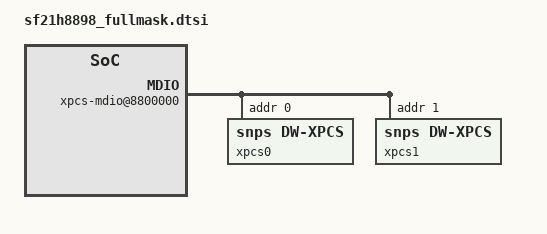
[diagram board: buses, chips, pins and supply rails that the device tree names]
// SPDX-License-Identifier: GPL-2.0
#include <dt-bindings/gpio/gpio.h>
#include <dt-bindings/pinctrl/sf21h8898-fullmask-iomux.h>

/ {
	compatible = "siflower,sf21h8898";
	#address-cells = <1>;
	#size-cells = <1>;

	cpus {
		#address-cells = <1>;
		#size-cells = <0>;

		cpu0: cpu@0 {
			device_type = "cpu";
			compatible = "arm,cortex-a53";
			reg = <0x0>;
			clock-frequency = <1200000000>;
		};

		cpu1: cpu@1 {
			device_type = "cpu";
			compatible = "arm,cortex-a53";
			reg = <0x1>;
			clock-frequency = <1200000000>;
		};

		cpu2: cpu@2 {
			device_type = "cpu";
			compatible = "arm,cortex-a53";
			reg = <0x2>;
			clock-frequency = <1200000000>;
		};

		cpu3: cpu@3 {
			device_type = "cpu";
			compatible = "arm,cortex-a53";
			reg = <0x3>;
			clock-frequency = <1200000000>;
		};

	};

	spi_clk: spi-clk {
		compatible = "fixed-clock";
		#clock-cells = <0>;
		clock-frequency = <200000000>;
	};

	apb_clk: apb-clk {
		compatible = "fixed-clock";
		#clock-cells = <0>;
		clock-frequency = <200000000>;
	};


	soc {
		compatible = "simple-bus";
		#address-cells = <2>;
		#size-cells = <2>;
		u-boot,dm-pre-reloc;

		gmac0: ethernet@8000000 {
			compatible = "siflower,sf21h8898-xgmac";
			reg = <0x0 0x8000000 0x0 0x4000>;
			phy-mode = "qsgmii";
			pcs-handle = <&xpcs0>;
			pinctrl-names = "default";
			pinctrl-0 = <&mac0_mdio_pins>;
			dmas = <&edma 0>, <&edma 1>;
			status = "disabled";

			mdio0: mdio {
				#address-cells = <1>;
				#size-cells = <0>;
			};
		};

		gmac1: ethernet@8004000 {
			compatible = "siflower,sf21h8898-xgmac";
			reg = <0x0 0x8004000 0x0 0x4000>;
			phy-mode = "qsgmii";
			pcs-handle = <&xpcs0>;
			dmas = <&edma 0>, <&edma 1>;
			status = "disabled";
		};

		gmac2: ethernet@8008000 {
			compatible = "siflower,sf21h8898-xgmac";
			reg = <0x0 0x8008000 0x0 0x4000>;
			phy-mode = "qsgmii";
			pcs-handle = <&xpcs0>;
			dmas = <&edma 0>, <&edma 1>;
			status = "disabled";
		};

		gmac3: ethernet@800c000 {
			compatible = "siflower,sf21h8898-xgmac";
			reg = <0x0 0x800c000 0x0 0x4000>;
			phy-mode = "qsgmii";
			pcs-handle = <&xpcs0>;
			dmas = <&edma 0>, <&edma 1>;
			status = "disabled";
		};

		gmac4: ethernet@8010000 {
			compatible = "siflower,sf21h8898-xgmac";
			reg = <0x0 0x8010000 0x0 0x4000>;
			phy-mode = "2500base-x";
			pcs-handle = <&xpcs1>;
			pinctrl-names = "default";
			pinctrl-0 = <&mac4_mdio_pins>;
			dmas = <&edma 0>, <&edma 1>;
			status = "disabled";

			mdio1: mdio {
				#address-cells = <1>;
				#size-cells = <0>;
			};
		};

		gmac5: ethernet@8014000 {
			compatible = "siflower,sf21h8898-xgmac";
			reg = <0x0 0x8014000 0x0 0x4000>;
			phy-mode = "rgmii";
			pinctrl-names = "default";
			pinctrl-0 = <&rgmii_pins>;
			dmas = <&edma 0>, <&edma 1>;
			status = "disabled";
		};

		edma: dma-controller@8018000 {
			compatible = "siflower,sf21h8898-xgmac-dma";
			reg = <0x0 0x8018000 0x0 0x4000>;
			#dma-cells = <1>;
			dma-channels = <2>;
		};

		xpcs-mdio@8800000 {
			compatible = "siflower,sf21h8898-xpcs-mdio";
			reg = <0x0 0x8800000 0x0 0x1000000>;
			#address-cells = <1>;
			#size-cells = <0>;

			xpcs0: xpcs@0 {
				compatible = "snps,dw-xpcs";
				reg = <0x0>;
				// mode: 1 for qsgmii, 2 for sgmii, 3 for usxgmii
				mode = <0x1>;
			};

			xpcs1: xpcs@1 {
				compatible = "snps,dw-xpcs";
				reg = <0x1>;
				// mode: 1 for qsgmii, 2 for sgmii, 3 for usxgmii
				mode = <0x2>;
			};
		};


		spi0: spi@c200000 {
			compatible = "siflower,sf-exspi";
			reg = <0x0 0xc200000 0x0 0x1000>;
			clocks = <&spi_clk>;
			pinctrl-names = "default";
			pinctrl-0 = <&spi0_pins>;
			status = "disabled";
			#address-cells = <1>;
			#size-cells = <0>;
		};

		rst: reset-controller@0xce08400 {
			compatible = "siflower_i2c_reset";
			#reset-cells = <1>;
			reg = <0x0 0xce08400 0x0 0x1000>;
		};

		i2c0: i2c@c100000 {
			compatible = "snps,designware-i2c";
			reg = <0x0 0xc100000 0x0 0x1000>;
			clocks = <&apb_clk>;
			clock-frequency = <400000>;
			pinctrl-0 = <&i2c0_pins>;
			pinctrl-names = "default";
			status = "disabled";
			resets = <&rst 0>;
			#address-cells = <1>;
			#size-cells = <0>;
		};

		uart0: serial@c300000 {
			compatible = "arm,pl011";
			reg = <0x0 0xc300000 0x0 0x1000>;
			pinctrl-names = "default";
			pinctrl-0 = <&uart0_pins>;
			status = "disabled";
		};

		uart1: serial@c301000 {
			compatible = "arm,pl011";
			reg = <0x0 0xc301000 0x0 0x1000>;
			pinctrl-names = "default";
			pinctrl-0 = <&uart1_pins>;
			status = "disabled";
		};

		watchdog: watchdog@0c700000 {
			compatible = "snps,dw-wdt";
			reg = <0x0 0x0c700000 0x0 0x1000>;
			clocks = <&apb_clk>;
			status = "disabled";
		};

		timer0: timer0@0c600000 {
			compatible = "snps,dw-apb-timer";
			reg = <0x0 0x0c600000 0x0 0x1000>;
			clocks = <&apb_clk>;
			clock-names = "timer";
			status = "disabled";
		};

		timer1: timer1@0c601000 {
			compatible = "snps,dw-apb-timer";
			reg = <0x0 0x0c601000 0x0 0x1000>;
			clocks = <&apb_clk>;
			clock-names = "timer";
			status = "disabled";
		};

		gpio: gpio@c800000 {
			compatible = "siflower,sfax8-gpio";
			reg = <0x0 0xc800000 0x0 0x100000>;

			gpio-controller;
			#gpio-cells = <2>;

			ngpios = <41>;
			gpio-ranges = <&iomux 0 0 41>;
		};

		iomux: iomux@ce3c000 {
			compatible = "pinctrl-single";
			reg = <0x0 0xce3c000 0x0 0xa4>;
			#address-cells = <1>;
			#size-cells = <1>;
			#pinctrl-cells = <1>;

			pinctrl-single,register-width = <32>;
			pinctrl-single,function-mask = <FUNC_MODE_MASK>;
			pinctrl-single,gpio-range = <&range 0 41 GPIO_MODE>;

			range: gpio-range {
				#pinctrl-single,gpio-range-cells = <3>;
			};

			clk_pins: clk_pins {
				pinctrl-single,pins = <
					EXT_CLK_IN	FUNC_MODE0
					CLK_OUT		FUNC_MODE0
				>;
			};

			spi0_pins: spi0_pins {
				pinctrl-single,pins = <
					SPI0_TXD	FUNC_MODE0
					SPI0_RXD	FUNC_MODE0
					SPI0_CLK	FUNC_MODE0
					SPI0_CSN	FUNC_MODE0
					SPI0_HOLD	FUNC_MODE0
					SPI0_WP		FUNC_MODE0
				>;
			};

			jtag_pins: jtag_pins {
				pinctrl-single,pins = <
					JTAG_TDO	FUNC_MODE0
					JTAG_TDI	FUNC_MODE0
					JTAG_TMS	FUNC_MODE0
					JTAG_TCK	FUNC_MODE0
					JTAG_RST	FUNC_MODE0
				>;
			};

			uart0_pins: uart0_pins {
				pinctrl-single,pins = <
					JTAG_TDO	FUNC_MODE1
					JTAG_TDI	FUNC_MODE1
					JTAG_TMS	FUNC_MODE1
					JTAG_TCK	FUNC_MODE1
				>;
			};

			uart1_pins: uart1_pins {
				pinctrl-single,pins = <
					UART1_TX	FUNC_MODE0
					UART1_RX	FUNC_MODE0
				>;
			};

			uart1_full_pins: uart1_full_pins {
				pinctrl-single,pins = <
					UART1_TX	FUNC_MODE0
					UART1_RX	FUNC_MODE0
					I2C0_DAT	FUNC_MODE1
					I2C0_CLK	FUNC_MODE1
				>;
			};

			i2c0_pins: i2c0_pins {
				pinctrl-single,pins = <
					I2C0_DAT	FUNC_MODE0
					I2C0_CLK	FUNC_MODE0
				>;
			};

			perst_pins: perst_pins {
				pinctrl-single,pins = <
					I2C0_DAT	FUNC_MODE2
					I2C0_CLK	FUNC_MODE2
				>;
			};

			i2c1_pins: i2c1_pins {
				pinctrl-single,pins = <
					I2C1_DAT	FUNC_MODE0
					I2C1_CLK	FUNC_MODE0
				>;
			};

			pwm_pins: pwm_pins {
				pinctrl-single,pins = <
					PWM0		FUNC_MODE0
					PWM1		FUNC_MODE0
				>;
			};

			rgmii_pins: rgmii_pins {
				pinctrl-single,pins = <
					RGMII_GTX_CLK	FUNC_MODE0
				//	RGMII_TXCLK	FUNC_MODE0
					RGMII_TXD0	FUNC_MODE0
					RGMII_TXD1	FUNC_MODE0
					RGMII_TXD2	FUNC_MODE0
					RGMII_TXD3	FUNC_MODE0
					RGMII_TXCTL	FUNC_MODE0
					RGMII_RXCLK	FUNC_MODE0
					RGMII_RXD0	FUNC_MODE0
					RGMII_RXD1	FUNC_MODE0
					RGMII_RXD2	FUNC_MODE0
					RGMII_RXD3	FUNC_MODE0
					RGMII_RXCTL	FUNC_MODE0
				>;
			};

			spi1_pins: spi1_pins {
				pinctrl-single,pins = <
					RGMII_GTX_CLK	FUNC_MODE1
					RGMII_TXCLK	FUNC_MODE1
					RGMII_TXD0	FUNC_MODE1
				/*	RGMII_TXD1	FUNC_MODE1	*/
					RGMII_TXD2	FUNC_MODE1
					RGMII_TXD3	FUNC_MODE1
				>;
			};

			mac0_mdio_pins: mac0_mdio_pins {
				pinctrl-single,pins = <
					QSGMII_MDIO	FUNC_MODE0
					QSGMII_MDC	FUNC_MODE0
				>;
			};

			mac4_mdio_pins: mac4_mdio_pins {
				pinctrl-single,pins = <
					SXGMII_MDIO	FUNC_MODE0
					SXGMII_MDC	FUNC_MODE0
				>;
			};
		};
	};
};
